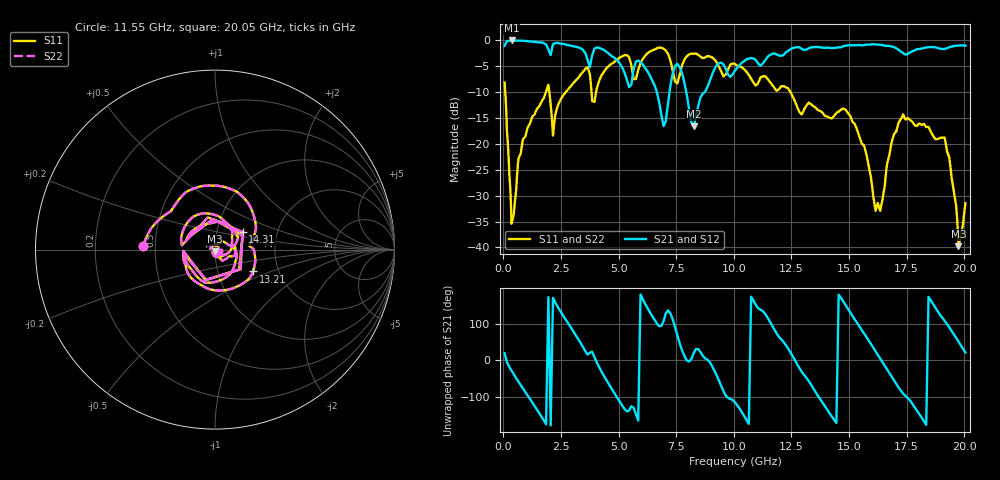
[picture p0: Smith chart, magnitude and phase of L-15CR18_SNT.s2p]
#	mhz	s	ma	r	50
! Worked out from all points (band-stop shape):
!   1001 points, 50 MHz to 20.05 GHz, reference 50 ohm
!   highest |S21| = -0.03 dB at 350 MHz (marker M1); lowest = -16.6 dB at 8.25 GHz (marker M2)
!   |S21| within 3 dB of the highest: start of sweep to 3.596 GHz; 11.51 GHz to end of sweep (the widest 2 of 3)
!   lowest |S11| = -39.8 dB at 19.75 GHz (marker M3), VSWR 1.02, Z = 49.9 - j1.03 ohm
!   |S11| at or under -10 dB: 78.53 MHz to 1.842 GHz (1.764 GHz wide, 184 % of centre); 1.992 GHz to 2.707 GHz (714.7 MHz wide, 30.4 % of centre); 12.45 GHz to end of sweep (the widest 3 of 4)
!   |S22| runs from -39.8 to -1.4 dB; largest |S21 - S12| = 0
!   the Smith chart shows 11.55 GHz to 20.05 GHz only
!   S11 on the Smith chart (normalised r, x): 11.55 GHz: 0.43, +0.02; 13.21 GHz: 1.48, -0.38; 14.31 GHz: 1.33, +0.27; 20.05 GHz: 1.05, -0.03
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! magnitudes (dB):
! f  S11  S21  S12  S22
! 50 MHz  -8.2  -1.1  -1.1  -8.2
! 350 MHz  -35.4  0.0  0.0  -35.4
! 1.87 GHz  -9.6  -1.0  -1.0  -9.6
! 2.19 GHz  -16.5  -0.7  -0.7  -16.5
! 3.39 GHz  -6.4  -1.7  -1.7  -6.4
! 3.93 GHz  -11.9  -1.8  -1.8  -11.9
! 6.73 GHz  -1.4  -11.4  -11.4  -1.4
! 6.99 GHz  -1.8  -16.2  -16.2  -1.8
! 7.57 GHz  -8.0  -4.7  -4.7  -8.0
! 8.25 GHz  -2.6  -16.6  -16.6  -2.6
! 10.05 GHz  -4.6  -5.8  -5.8  -4.6
! 11.55 GHz  -8.0  -2.9  -2.9  -8.0
! 13.21 GHz  -12.3  -1.6  -1.6  -12.3
! 13.39 GHz  -12.5  -1.4  -1.4  -12.5
! 14.31 GHz  -14.8  -1.5  -1.5  -14.8
! 15.29 GHz  -16.6  -1.0  -1.0  -16.6
! 16.23 GHz  -31.7  -0.8  -0.8  -31.7
! 16.73 GHz  -22.5  -1.1  -1.1  -22.5
! 17.33 GHz  -14.5  -2.5  -2.5  -14.5
! 19.09 GHz  -18.8  -1.7  -1.7  -18.8
! 19.75 GHz  -39.8  -1.0  -1.0  -39.8
! 20.05 GHz  -31.5  -1.0  -1.0  -31.5
